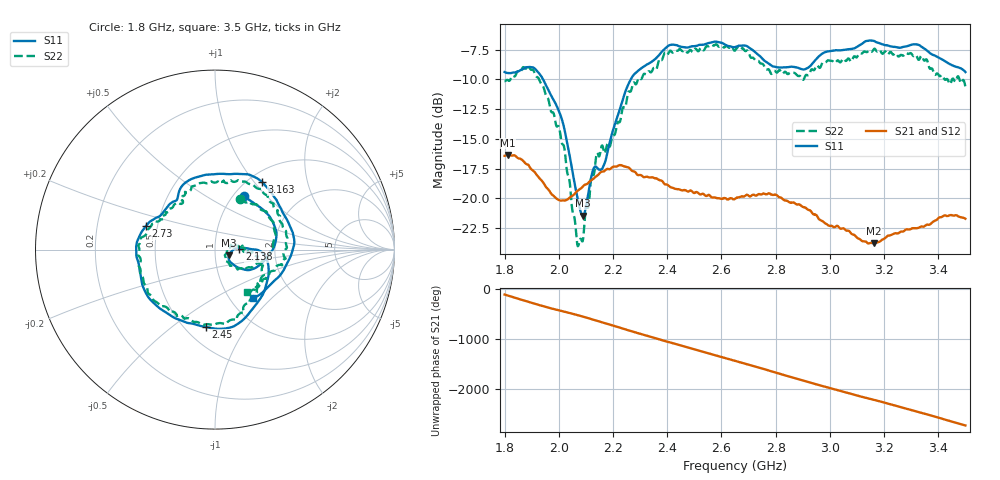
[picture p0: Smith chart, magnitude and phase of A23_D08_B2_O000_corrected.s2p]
! Created with skrf 1.9.0 (http://scikit-rf.org).
# Hz S RI R 50.0
!freq ReS11 ImS11 ReS21 ImS21 ReS12 ImS12 ReS22 ImS22
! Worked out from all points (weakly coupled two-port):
!   1601 points, 1.8 GHz to 3.5 GHz, reference 50 ohm
!   highest |S21| = -16.35 dB at 1.812 GHz (marker M1); lowest = -23.8 dB at 3.162 GHz (marker M2)
!   lowest |S11| = -21.5 dB at 2.089 GHz (marker M3), VSWR 1.18, Z = 58.4 - j3.62 ohm
!   |S11| at or under -10 dB: 1.942 GHz to 2.265 GHz (323 MHz wide, 15.4 % of centre)
!   |S22| runs from -24.0 to -7.0 dB; largest |S21 - S12| = 0.0029
!   S11 on the Smith chart (normalised r, x): 1.8 GHz: 1.12, +0.76; 2.138 GHz: 1.31, +0.01; 2.45 GHz: 0.63, -0.67; 2.73 GHz: 0.43, +0.13; 3.163 GHz: 1.15, +1.10; 3.5 GHz: 1.27, -0.77
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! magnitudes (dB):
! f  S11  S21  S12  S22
! 1.8 GHz  -9.4  -16.4  -16.4  -10.1
! 1.812 GHz  -9.5  -16.4  -16.4  -10.0
! 1.887 GHz  -9.0  -17.2  -17.3  -8.9
! 1.94 GHz  -9.9  -18.6  -18.6  -10.5
! 2.013 GHz  -13.4  -20.2  -20.2  -15.4
! 2.067 GHz  -19.7  -19.4  -19.4  -23.6
! 2.084 GHz  -21.3  -19.1  -19.1  -23.5
! 2.089 GHz  -21.5  -19.0  -19.0  -23.5
! 2.138 GHz  -17.3  -18.2  -18.2  -16.5
! 2.167 GHz  -17.2  -17.7  -17.7  -16.1
! 2.266 GHz  -9.9  -17.6  -17.6  -11.0
! 2.367 GHz  -8.0  -18.4  -18.4  -8.5
! 2.45 GHz  -7.2  -19.3  -19.3  -7.5
! 2.65 GHz  -7.3  -20.0  -20.0  -7.6
! 2.73 GHz  -7.8  -19.7  -19.8  -8.4
! 2.8 GHz  -8.9  -19.7  -19.7  -9.3
! 2.934 GHz  -8.7  -21.2  -21.2  -9.1
! 3.162 GHz  -6.8  -23.8  -23.8  -7.5
! 3.163 GHz  -6.8  -23.8  -23.8  -7.4
! 3.217 GHz  -7.2  -23.1  -23.1  -7.8
! 3.326 GHz  -7.1  -22.5  -22.5  -8.3
! 3.5 GHz  -9.4  -21.7  -21.7  -10.6
